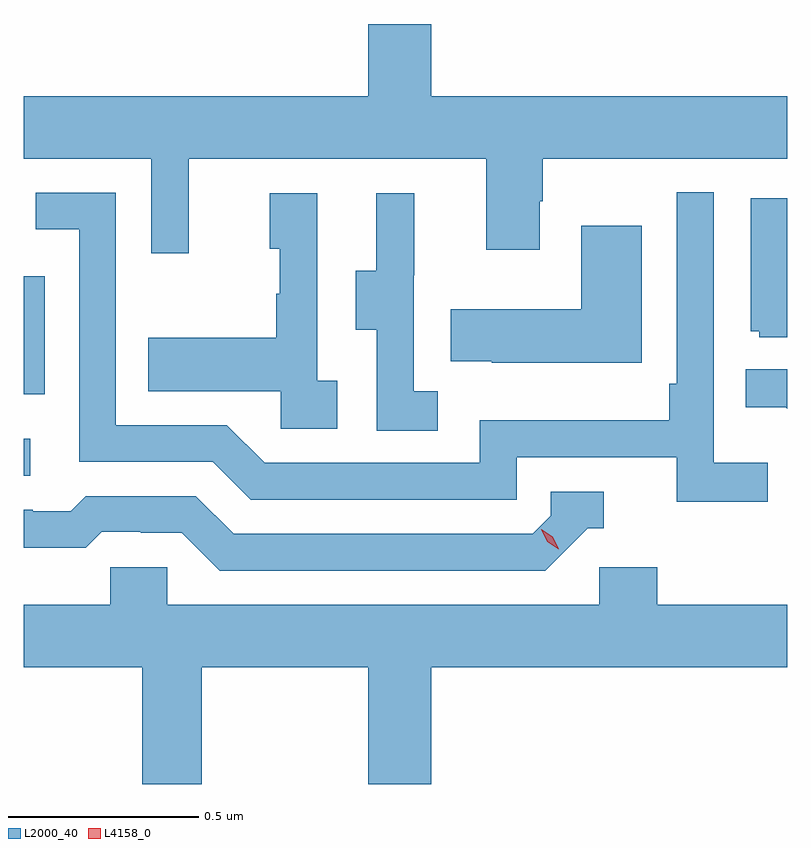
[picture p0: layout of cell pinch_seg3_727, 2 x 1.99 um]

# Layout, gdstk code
import gdstk
lib = gdstk.Library(unit=1e-6, precision=1e-09)
def R(c, l, rs):  # rectangles x0, y0, x1, y1
    for r in rs: c.add(gdstk.rectangle(r[:2], r[2:], *l))
def P(c, l, *ps):  # polygons
    for p in ps: c.add(gdstk.Polygon(p, *l))
L2000_40 = (2000, 40)
L4158_0 = (4158, 0)

pinch_seg3_727 = lib.new_cell('pinch_seg3_727')
R(pinch_seg3_727, L2000_40, [(1111.157,669.45,1111.174,669.546), (1111.157,669.663,1111.212,669.972)])
P(pinch_seg3_727, L2000_40, [(1111.589,670.28),(1112.369,670.28),(1112.369,670.041),(1112.509,670.041),(1112.509,670.169),(1112.517,670.169),(1112.517,670.28),(1113.157,670.28),(1113.157,670.444),(1112.224,670.444),(1112.224,670.633),(1112.06,670.633),(1112.06,670.444),(1111.157,670.444),(1111.157,670.28),(1111.491,670.28),(1111.491,670.032),(1111.589,670.032)],
  [(1113.106,669.484),(1112.964,669.484),(1112.964,670.192),(1112.868,670.192),(1112.868,669.691),(1112.848,669.691),(1112.848,669.595),(1112.352,669.595),(1112.352,669.483),(1111.788,669.483),(1111.689,669.582),(1111.398,669.582),(1111.398,670.191),(1111.189,670.191),(1111.189,670.095),(1111.302,670.095),(1111.302,669.486),(1111.652,669.486),(1111.751,669.387),(1112.448,669.387),(1112.448,669.498),(1112.867,669.498),(1112.867,669.382),(1113.106,669.382)],
  [(1112.242,669.671),(1112.178,669.671),(1112.178,669.975),(1112.18,669.975),(1112.18,670.189),(1112.081,670.189),(1112.081,669.987),(1112.027,669.987),(1112.027,669.832),(1112.082,669.832),(1112.082,669.568),(1112.242,669.568)],
  [(1111.978,669.698),(1111.926,669.698),(1111.926,670.189),(1111.802,670.189),(1111.802,670.044),(1111.828,670.044),(1111.828,669.926),(1111.818,669.926),(1111.818,669.811),(1111.483,669.811),(1111.483,669.671),(1111.83,669.671),(1111.83,669.573),(1111.978,669.573)],
  [(1113.157,670.177),(1113.062,670.177),(1113.062,669.828),(1113.084,669.828),(1113.084,669.813),(1113.157,669.813)],
  [(1112.776,670.105),(1112.618,670.105),(1112.618,669.886),(1112.275,669.886),(1112.275,669.749),(1112.383,669.749),(1112.383,669.746),(1112.776,669.746)],
  [(1113.157,669.728),(1113.049,669.728),(1113.049,669.629),(1113.153,669.629),(1113.157,669.625)],
  [(1112.634,669.312),(1112.677,669.312),(1112.677,669.408),(1112.538,669.408),(1112.538,669.345),(1112.49,669.297),(1111.707,669.297),(1111.608,669.396),(1111.319,669.396),(1111.28,669.357),(1111.181,669.357),(1111.181,669.36),(1111.157,669.36),(1111.157,669.261),(1111.319,669.261),(1111.361,669.303),(1111.464,669.303),(1111.464,669.3),(1111.571,669.3),(1111.67,669.201),(1112.523,669.201)],
  [(1111.623,668.948),(1112.06,668.948),(1112.06,668.642),(1112.224,668.642),(1112.224,668.948),(1113.157,668.948),(1113.157,669.112),(1112.816,669.112),(1112.816,669.21),(1112.664,669.21),(1112.664,669.112),(1111.533,669.112),(1111.533,669.21),(1111.383,669.21),(1111.383,669.112),(1111.157,669.112),(1111.157,668.948),(1111.468,668.948),(1111.468,668.642),(1111.623,668.642)])
P(pinch_seg3_727, L4158_0, [(1112.559,669.257),(1112.528,669.277),(1112.513,669.31),(1112.513,669.31),(1112.513,669.31),(1112.543,669.29),(1112.559,669.257),(1112.559,669.257)])

lib.write_gds('pinch_seg3_727.gds')
